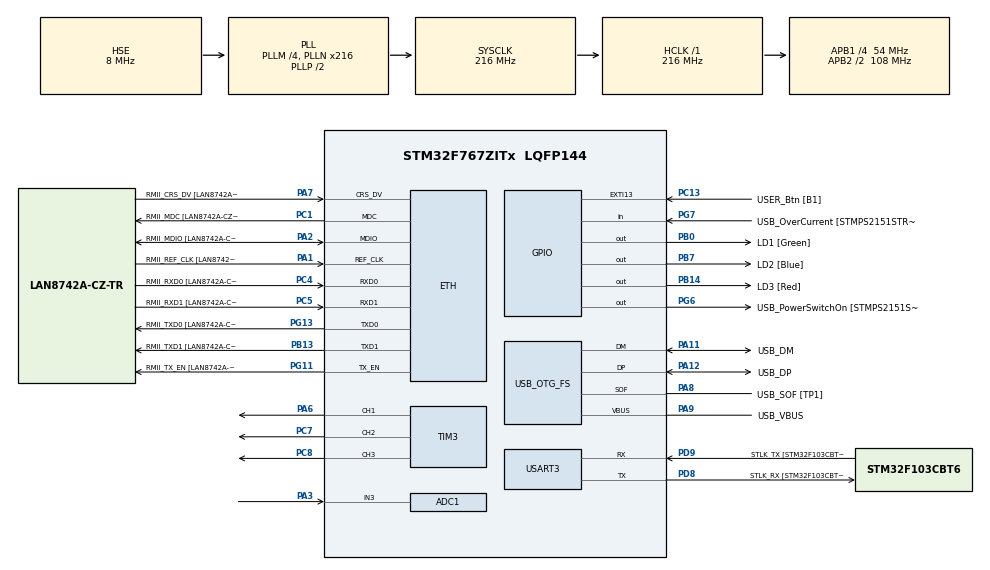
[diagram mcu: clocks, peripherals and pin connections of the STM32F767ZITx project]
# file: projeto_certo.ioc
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ADC1.Channel-1\#ChannelRegularConversion=ADC_CHANNEL_3
ADC1.NbrOfConversionFlag=1
ADC1.Rank-1\#ChannelRegularConversion=1
ADC1.SamplingTime-1\#ChannelRegularConversion=ADC_SAMPLETIME_3CYCLES
ADC1.master=1
CORTEX_M7.default_mode_Activation=1
ETH.MediaInterface=HAL_ETH_RMII_MODE
ETH.PHY_Name=LAN8742A_PHY_ADDRESS
ETH.PHY_Value=0
ETH.PhyAddress=0
Mcu.Family=STM32F7
Mcu.Name=STM32F767ZITx
Mcu.Package=LQFP144
NVIC.PriorityGroup=NVIC_PRIORITYGROUP_4
NVIC.TIM6_DAC_IRQn=true\:0\:0\:false\:false\:true\:true\:true\:true
PA1.GPIO_Label=RMII_REF_CLK [LAN8742A-CZ-TR_REFCLK0]
PA1.Mode=RMII
PA1.Signal=ETH_REF_CLK
PA10.GPIO_Label=USB_ID
PA10.Signal=USB_OTG_FS_ID
PA11.GPIO_Label=USB_DM
PA11.Mode=Device_Only
PA11.Signal=USB_OTG_FS_DM
PA12.GPIO_Label=USB_DP
PA12.Mode=Device_Only
PA12.Signal=USB_OTG_FS_DP
PA13.GPIO_Label=TMS
PA13.Mode=Serial_Wire
PA13.Signal=SYS_JTMS-SWDIO
PA14.GPIO_Label=TCK
PA14.Mode=Serial_Wire
PA14.Signal=SYS_JTCK-SWCLK
PA2.GPIO_Label=RMII_MDIO [LAN8742A-CZ-TR_MDIO]
PA2.Mode=RMII
PA2.Signal=ETH_MDIO
PA3.Signal=ADCx_IN3
PA6.Signal=S_TIM3_CH1
PA7.GPIO_Label=RMII_CRS_DV [LAN8742A-CZ-TR_CRS_DV]
PA7.Mode=RMII
PA7.Signal=ETH_CRS_DV
PA8.GPIO_Label=USB_SOF [TP1]
PA8.Mode=Activate_SOF_FS
PA8.Signal=USB_OTG_FS_SOF
PA9.GPIO_Label=USB_VBUS
PA9.Mode=Activate_VBUS
PA9.Signal=USB_OTG_FS_VBUS
PB0.GPIO_Label=LD1 [Green]
PB0.Signal=GPIO_Output
PB13.GPIO_Label=RMII_TXD1 [LAN8742A-CZ-TR_TXD1]
PB13.Mode=RMII
PB13.Signal=ETH_TXD1
PB14.GPIO_Label=LD3 [Red]
PB14.Signal=GPIO_Output
PB3.GPIO_Label=SWO
PB3.Signal=SYS_JTDO-SWO
PB7.GPIO_Label=LD2 [Blue]
PB7.Signal=GPIO_Output
PC1.GPIO_Label=RMII_MDC [LAN8742A-CZ-TR_MDC]
PC1.Mode=RMII
PC1.Signal=ETH_MDC
PC13.GPIO_Label=USER_Btn [B1]
PC13.Signal=GPXTI13
PC14/OSC32_IN.Mode=LSE-External-Oscillator
PC14/OSC32_IN.Signal=RCC_OSC32_IN
PC15/OSC32_OUT.Mode=LSE-External-Oscillator
PC15/OSC32_OUT.Signal=RCC_OSC32_OUT
PC4.GPIO_Label=RMII_RXD0 [LAN8742A-CZ-TR_RXD0]
PC4.Mode=RMII
PC4.Signal=ETH_RXD0
PC5.GPIO_Label=RMII_RXD1 [LAN8742A-CZ-TR_RXD1]
PC5.Mode=RMII
PC5.Signal=ETH_RXD1
PC7.Signal=S_TIM3_CH2
PC8.Signal=S_TIM3_CH3
PD8.GPIO_Label=STLK_RX [STM32F103CBT6_PA3]
PD8.Mode=Asynchronous
PD8.Signal=USART3_TX
PD9.GPIO_Label=STLK_TX [STM32F103CBT6_PA2]
PD9.Mode=Asynchronous
PD9.Signal=USART3_RX
PG11.GPIO_Label=RMII_TX_EN [LAN8742A-CZ-TR_TXEN]
PG11.Mode=RMII
PG11.Signal=ETH_TX_EN
PG13.GPIO_Label=RMII_TXD0 [LAN8742A-CZ-TR_TXD0]
PG13.Mode=RMII
PG13.Signal=ETH_TXD0
PG6.GPIO_Label=USB_PowerSwitchOn [STMPS2151STR_EN]
PG6.Signal=GPIO_Output
PG7.GPIO_Label=USB_OverCurrent [STMPS2151STR_FAULT]
PG7.Signal=GPIO_Input
PH0/OSC_IN.GPIO_Label=MCO [STM32F103CBT6_PA8]
PH0/OSC_IN.Mode=HSE-External-Clock-Source
PH0/OSC_IN.Signal=RCC_OSC_IN
PH1/OSC_OUT.Mode=HSE-External-Clock-Source
PH1/OSC_OUT.Signal=RCC_OSC_OUT
ProjectManager.HeapSize=0x200
ProjectManager.StackSize=0x400
ProjectManager.TargetToolchain=STM32CubeIDE
RCC.48MHZClocksFreq_Value=24000000
RCC.AHBFreq_Value=216000000
RCC.APB1CLKDivider=RCC_HCLK_DIV4
RCC.APB1Freq_Value=54000000
RCC.APB1TimFreq_Value=108000000
RCC.APB2CLKDivider=RCC_HCLK_DIV2
RCC.APB2Freq_Value=108000000
RCC.APB2TimFreq_Value=216000000
RCC.CortexFreq_Value=216000000
RCC.HCLKFreq_Value=216000000
RCC.HSE_VALUE=8000000
RCC.HSI_VALUE=16000000
RCC.PLLM=4
RCC.PLLMUL=RCC_PLL_MUL9
RCC.PLLN=216
RCC.PLLQ=9
RCC.PRESCALERUSB=RCC_USBCLKSOURCE_PLL_DIV1_5
RCC.SYSCLKFreq_VALUE=216000000
RCC.SYSCLKSource=RCC_SYSCLKSOURCE_PLLCLK
RCC.SYSCLKSourceVirtual=RCC_SYSCLKSOURCE_PLLCLK
RCC.USBFreq_Value=48000000
RCC.VCOOutputFreq_Value=432000000
SH.ADCx_IN3.0=ADC1_IN3,IN3
SH.S_TIM3_CH1.0=TIM3_CH1,PWM Generation1 CH1
SH.S_TIM3_CH2.0=TIM3_CH2,PWM Generation2 CH2
SH.S_TIM3_CH3.0=TIM3_CH3,PWM Generation3 CH3
TIM3.Channel-PWM\ Generation1\ CH1=TIM_CHANNEL_1
TIM3.Channel-PWM\ Generation2\ CH2=TIM_CHANNEL_2
TIM3.Channel-PWM\ Generation3\ CH3=TIM_CHANNEL_3
TIM6.Period=49
TIM6.Prescaler=10799
USART3.VirtualMode-Asynchronous=VM_ASYNC
USB_OTG_FS.VirtualMode=Device_Only
VP_TIM6_VS_ClockSourceINT.Mode=Enable_Timer
board=NUCLEO-F767ZI

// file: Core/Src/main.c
/* USER CODE BEGIN Header */
/**
  ******************************************************************************
  * @file           : main.c
  * @brief          : Main program body
  ******************************************************************************
  * @attention
  *
  * Copyright (c) 2026 STMicroelectronics.
  * All rights reserved.
  *
  * This software is licensed under terms that can be found in the LICENSE file
  * in the root directory of this software component.
  * If no LICENSE file comes with this software, it is provided AS-IS.
  *
  ******************************************************************************
  */
/* USER CODE END Header */
#include "main.h"
#include "adc.h"
#include "eth.h"
#include "tim.h"
#include "usart.h"
#include "usb_otg.h"
#include "gpio.h"

/* USER CODE BEGIN Includes */
#include "Bsp.h"
#include "Button.h"
#include "LedPwm.h"
#include "Sampler.h"
#include <stdio.h>
/* USER CODE END Includes */

void SystemClock_Config(void);
static void MPU_Config(void);

int main(void)
{

  /* MPU Configuration--------------------------------------------------------*/
  MPU_Config();

  /* MCU Configuration--------------------------------------------------------*/

  /* Reset of all peripherals, Initializes the Flash interface and the Systick. */
  HAL_Init();

  /* Configure the system clock */
  SystemClock_Config();

  /* Initialize all configured peripherals */
  MX_GPIO_Init();
  MX_ADC1_Init();
  MX_ETH_Init();
  MX_TIM6_Init();
  MX_USART3_UART_Init();
  MX_USB_OTG_FS_PCD_Init();
  MX_TIM3_Init();
  /* USER CODE BEGIN 2 */
  /* Inicializacao das camadas de abstracao de hardware (BSP) e de negocio */
  Bsp_Init();
  Button_Init();
  LedPwm_Init();
  /* USER CODE END 2 */

  /* Infinite loop */
  /* USER CODE BEGIN WHILE */
  while (1)
  {
    /* 1. 🔘 Atualiza a maquina de estados do botao e debouncing */
    Button_Update();

    /* 2. 🎛️ Executa a amostragem. A variavel isNewAverageReady sera true quando 100 amostras forem coletadas */
    bool isNewAverageReady = Sampler_Update();

    /* 3. ⌨️ Processa comandos da USART3 via polling (nao bloqueante) */
    if (Bsp_UartRxHasData() == true)
    {
        u8 rxByte = Bsp_UartRxReadByte();

        if (rxByte == '1')
        {
            LedPwm_SetSelectedLed(dLEDPWM_CHANNEL_1);
        }
        else if (rxByte == '2')
        {
            LedPwm_SetSelectedLed(dLEDPWM_CHANNEL_2);
        }
        else if (rxByte == '3')
        {
            LedPwm_SetSelectedLed(dLEDPWM_CHANNEL_3);
        }
    }

    /* 4. 💡 Atualiza os ciclos de trabalho (PWM) com base na leitura filtrada */
    LedPwm_Update(Sampler_GetFilteredPercentage(), Button_IsSystemActive());

    /* 5. 💻 Transmissao no terminal sincronizada com o calculo da nova media */
    if (isNewAverageReady == true)
    {
        printf("[LED 1] %d%%  |  [LED 2] %d%%  |  [LED 3] %d%%  |  SISTEMA: %s\r\n",
               LedPwm_GetDuty(dLEDPWM_CHANNEL_1),
               LedPwm_GetDuty(dLEDPWM_CHANNEL_2),
               LedPwm_GetDuty(dLEDPWM_CHANNEL_3),
               Button_IsSystemActive() ? "ON" : "OFF");
    }
    /* USER CODE END WHILE */

  }
}

void SystemClock_Config(void)
{
  RCC_OscInitTypeDef RCC_OscInitStruct = {0};
  RCC_ClkInitTypeDef RCC_ClkInitStruct = {0};

  /** Configure LSE Drive Capability
  */
  HAL_PWR_EnableBkUpAccess();

  /** Configure the main internal regulator output voltage
  */
  __HAL_RCC_PWR_CLK_ENABLE();
  __HAL_PWR_VOLTAGESCALING_CONFIG(PWR_REGULATOR_VOLTAGE_SCALE1);

  /** Initializes the RCC Oscillators according to the specified parameters
  * in the RCC_OscInitTypeDef structure.
  */
  RCC_OscInitStruct.OscillatorType = RCC_OSCILLATORTYPE_HSE;
  RCC_OscInitStruct.HSEState = RCC_HSE_BYPASS;
  RCC_OscInitStruct.PLL.PLLState = RCC_PLL_ON;
  RCC_OscInitStruct.PLL.PLLSource = RCC_PLLSOURCE_HSE;
  RCC_OscInitStruct.PLL.PLLM = 4;
  RCC_OscInitStruct.PLL.PLLN = 216;
  RCC_OscInitStruct.PLL.PLLP = RCC_PLLP_DIV2;
  RCC_OscInitStruct.PLL.PLLQ = 9;
  RCC_OscInitStruct.PLL.PLLR = 2;
  if (HAL_RCC_OscConfig(&RCC_OscInitStruct) != HAL_OK)
  {
    Error_Handler();
  }

  /** Activate the Over-Drive mode
  */
  if (HAL_PWREx_EnableOverDrive() != HAL_OK)
  {
    Error_Handler();
  }

  /** Initializes the CPU, AHB and APB buses clocks
  */
  RCC_ClkInitStruct.ClockType = RCC_CLOCKTYPE_HCLK|RCC_CLOCKTYPE_SYSCLK
                              |RCC_CLOCKTYPE_PCLK1|RCC_CLOCKTYPE_PCLK2;
  RCC_ClkInitStruct.SYSCLKSource = RCC_SYSCLKSOURCE_PLLCLK;
  RCC_ClkInitStruct.AHBCLKDivider = RCC_SYSCLK_DIV1;
  RCC_ClkInitStruct.APB1CLKDivider = RCC_HCLK_DIV4;
  RCC_ClkInitStruct.APB2CLKDivider = RCC_HCLK_DIV2;

  if (HAL_RCC_ClockConfig(&RCC_ClkInitStruct, FLASH_LATENCY_7) != HAL_OK)
  {
    Error_Handler();
  }
}

 /* MPU Configuration */

void MPU_Config(void)
{
  MPU_Region_InitTypeDef MPU_InitStruct = {0};

  /* Disables the MPU */
  HAL_MPU_Disable();

  /** Initializes and configures the Region and the memory to be protected
  */
  MPU_InitStruct.Enable = MPU_REGION_ENABLE;
  MPU_InitStruct.Number = MPU_REGION_NUMBER0;
  MPU_InitStruct.BaseAddress = 0x0;
  MPU_InitStruct.Size = MPU_REGION_SIZE_4GB;
  MPU_InitStruct.SubRegionDisable = 0x87;
  MPU_InitStruct.TypeExtField = MPU_TEX_LEVEL0;
  MPU_InitStruct.AccessPermission = MPU_REGION_NO_ACCESS;
  MPU_InitStruct.DisableExec = MPU_INSTRUCTION_ACCESS_DISABLE;
  MPU_InitStruct.IsShareable = MPU_ACCESS_SHAREABLE;
  MPU_InitStruct.IsCacheable = MPU_ACCESS_NOT_CACHEABLE;
  MPU_InitStruct.IsBufferable = MPU_ACCESS_NOT_BUFFERABLE;

  HAL_MPU_ConfigRegion(&MPU_InitStruct);
  /* Enables the MPU */
  HAL_MPU_Enable(MPU_PRIVILEGED_DEFAULT);

}

void Error_Handler(void)
{
  __disable_irq();
  while (1)
  {
  }
}
